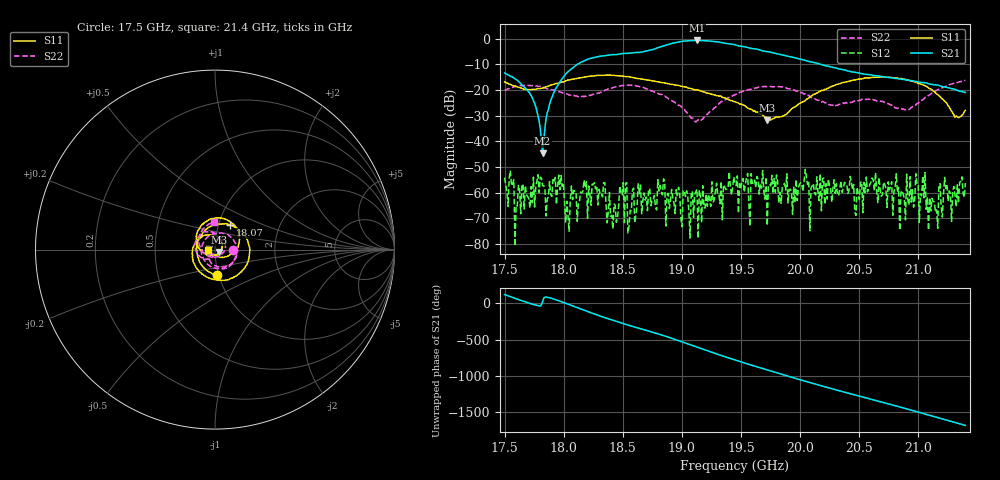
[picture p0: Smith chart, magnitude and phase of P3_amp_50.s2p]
!Created with skrf (http://scikit-rf.org).
# GHz S RI R 50.0
!freq ReS11 ImS11 ReS21 ImS21 ReS12 ImS12 ReS22 ImS22
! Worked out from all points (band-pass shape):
!   401 points, 17.5 GHz to 21.4 GHz, reference 50 ohm
!   highest |S21| = -0.65 dB at 19.13 GHz (marker M1); lowest = -44.7 dB at 17.82 GHz (marker M2)
!   |S21| within 3 dB of the highest: 18.79 GHz to 19.58 GHz (789.9 MHz wide, 4.12 % of centre)
!   lowest |S11| = -31.7 dB at 19.72 GHz (marker M3), VSWR 1.05, Z = 52.2 - j1.42 ohm
!   |S11| at or under -10 dB: start of sweep to end of sweep
!   |S22| runs from -32.4 to -16.2 dB; largest |S21 - S12| = 0.93
!   S11 on the Smith chart (normalised r, x): 17.5 GHz: 0.98, -0.29; 18.07 GHz: 1.13, +0.32; 21.4 GHz: 0.92, +0.00
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17.5  0.00898 -0.1441  -0.1191 0.1788  -0.00168 0.00102  0.0983 0.00024
17.60725  -0.0692 -0.0933  0.0777 0.1338  8.72e-05 0.000541  0.1136 -0.0347
17.82175  -0.0795 0.076  0.00532 0.00237  0.000308 0.00134  0.0378 -0.1068
17.9095  -0.0353 0.1242  0.0347 0.0741  -0.000428 0.00175  -0.0129 -0.0992
18.0655  0.0837 0.1382  0.2298 -0.1194  0.00106 0.000852  -0.0711 -0.0376
18.15325  0.1396 0.1037  0.0496 -0.3518  0.000974 -0.000203  -0.0729 0.018
18.32875  0.1912 -0.0279  -0.4615 0.0485  -0.000719 0.000421  0.0204 0.0927
18.436  0.154 -0.1146  -0.2176 0.4404  0.000288 0.000498  0.097 0.0631
18.50425  0.1046 -0.1532  0.0786 0.5103  0.00157 0.000138  0.1221 0.00983
18.56275  0.0598 -0.1695  0.3236 0.4135  0.000453 -4.96e-05  0.1195 -0.0363
18.8065  -0.1065 -0.0969  0.2887 -0.6193  -0.000448 -0.000982  -0.00837 -0.0836
19.0015  -0.116 0.026  -0.8832 -0.1107  -0.000198 9.11e-05  -0.0329 -0.0318
19.12825  -0.0668 0.0768  -0.3763 0.8485  -0.000586 0.00101  -0.0147 -0.0203
19.294  8.39e-05 0.0774  0.821 0.3037  0.000978 0.00118  -0.0206 -0.0444
19.45  0.035 0.0484  0.3257 -0.6899  0.00148 0.000419  -0.0645 -0.0484
19.723  0.0221 -0.0136  -0.5191 0.2153  -6.27e-05 0.000221  -0.1054 0.0535
19.86925  -0.00815 -0.0314  0.0434 0.4714  0.000421 -0.00147  -0.0518 0.0998
20.10325  -0.0779 -0.00613  0.3143 -0.1554  -0.000142 -0.00135  0.0135 0.069
20.39575  -0.0881 0.1141  -0.2236 -0.0876  -0.00137 -0.000463  0.0104 0.0549
20.7565  0.0863 0.1551  0.126 0.1222  0.00055 0.000993  0.0529 -0.00399
21.1465  0.0845 -0.0278  -0.0879 -0.0923  -0.000233 -0.000351  -0.0899 0.0357
21.4  -0.0402 0.000404  -0.0277 0.0857  -0.00145 -0.000539  -0.00781 0.1556
